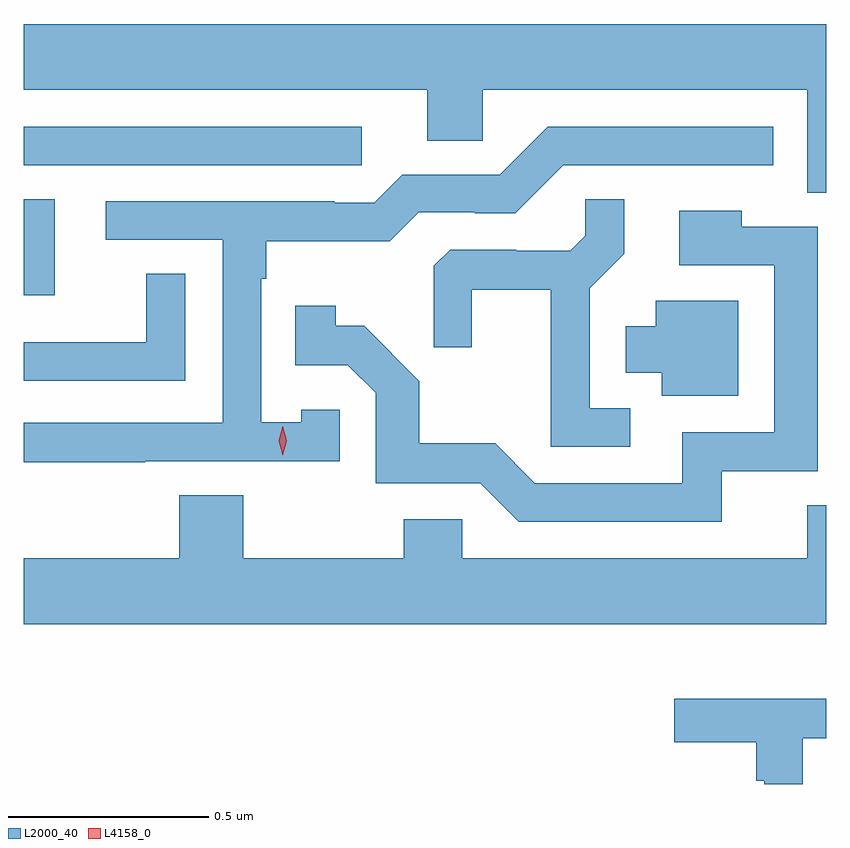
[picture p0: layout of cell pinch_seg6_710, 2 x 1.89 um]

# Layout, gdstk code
import gdstk
lib = gdstk.Library(unit=1e-6, precision=1e-09)
def R(c, l, rs):  # rectangles x0, y0, x1, y1
    for r in rs: c.add(gdstk.rectangle(r[:2], r[2:], *l))
def P(c, l, *ps):  # polygons
    for p in ps: c.add(gdstk.Polygon(p, *l))
L2000_40 = (2000, 40)
L4158_0 = (4158, 0)

pinch_seg6_710 = lib.new_cell('pinch_seg6_710')
R(pinch_seg6_710, L2000_40, [(437.918,956.148,437.995,956.387), (437.918,956.472,438.76,956.568)])
P(pinch_seg6_710, L2000_40, [(439.918,956.824),(437.918,956.824),(437.918,956.66),(438.923,956.66),(438.923,956.533),(439.062,956.533),(439.062,956.66),(439.871,956.66),(439.871,956.404),(439.918,956.404)],
  [(438.221,955.734),(438.705,955.734),(438.705,955.863),(438.609,955.863),(438.609,955.831),(438.51,955.831),(438.51,956.189),(438.523,956.189),(438.523,956.282),(438.83,956.282),(438.903,956.355),(439.042,956.355),(439.042,956.352),(439.143,956.352),(439.263,956.472),(439.786,956.472),(439.786,956.568),(439.224,956.568),(439.104,956.448),(438.861,956.448),(438.792,956.379),(438.692,956.379),(438.692,956.382),(438.123,956.382),(438.123,956.286),(438.414,956.286),(438.414,955.83),(437.918,955.83),(437.918,955.732),(438.221,955.732)],
  [(439.429,955.866),(439.329,955.866),(439.329,956.165),(439.415,956.251),(439.415,956.387),(439.317,956.387),(439.317,956.296),(439.28,956.259),(439.146,956.259),(439.146,956.262),(438.981,956.262),(438.94,956.221),(438.94,956.019),(439.034,956.019),(439.034,956.162),(439.232,956.162),(439.232,955.77),(439.429,955.77)],
  [(439.658,955.71),(439.897,955.71),(439.897,956.319),(439.707,956.319),(439.707,956.359),(439.551,956.359),(439.551,956.223),(439.788,956.223),(439.788,955.806),(439.559,955.806),(439.559,955.68),(439.191,955.68),(439.093,955.779),(438.904,955.779),(438.904,955.934),(438.766,956.072),(438.696,956.072),(438.696,956.122),(438.595,956.122),(438.595,955.974),(438.726,955.974),(438.795,955.905),(438.795,955.68),(439.056,955.68),(439.152,955.584),(439.658,955.584)],
  [(438.321,956.201),(438.223,956.201),(438.223,956.031),(437.918,956.031),(437.918,955.935),(438.321,955.935)],
  [(439.699,956.134),(439.493,956.134),(439.493,956.071),(439.418,956.071),(439.418,955.955),(439.508,955.955),(439.508,955.898),(439.699,955.898)],
  [(439.918,955.625),(439.871,955.625),(439.871,955.492),(439.011,955.492),(439.011,955.59),(438.865,955.59),(438.865,955.492),(438.465,955.492),(438.465,955.649),(438.305,955.649),(438.305,955.492),(437.918,955.492),(437.918,955.328),(439.918,955.328)],
  [(439.86,955.044),(439.918,955.044),(439.918,955.142),(439.539,955.142),(439.539,955.034),(439.744,955.034),(439.744,954.938),(439.764,954.938),(439.764,954.93),(439.86,954.93)])
P(pinch_seg6_710, L4158_0, [(438.563,955.749),(438.563,955.749),(438.553,955.785),(438.564,955.821),(438.564,955.821),(438.564,955.821),(438.573,955.785),(438.563,955.749)])

lib.write_gds('pinch_seg6_710.gds')
